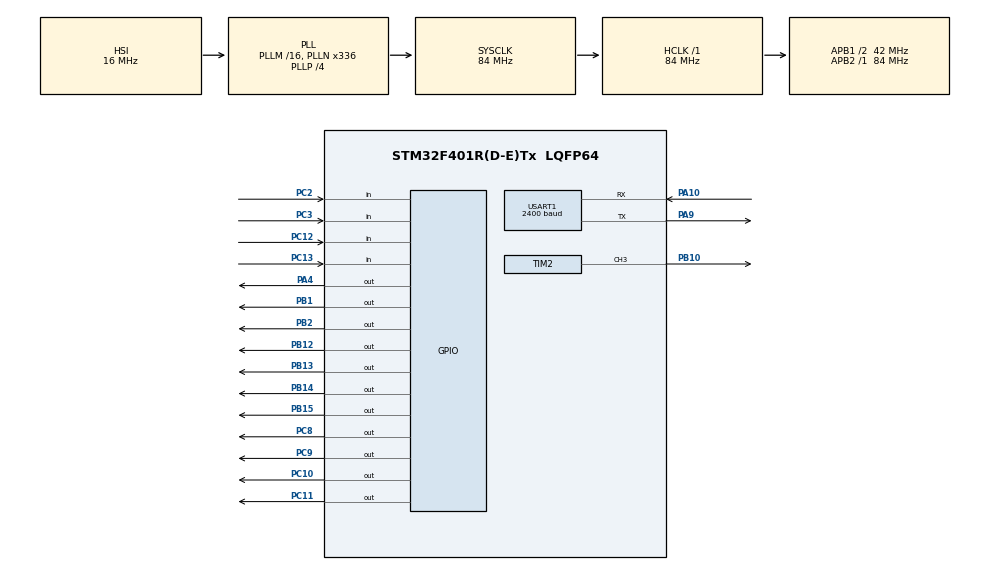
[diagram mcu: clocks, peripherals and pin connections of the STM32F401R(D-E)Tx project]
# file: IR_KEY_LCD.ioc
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Mcu.Family=STM32F4
Mcu.Name=STM32F401R(D-E)Tx
Mcu.Package=LQFP64
NVIC.PriorityGroup=NVIC_PRIORITYGROUP_4
NVIC.TIM3_IRQn=true\:0\:0\:false\:false\:true\:true\:true\:true
NVIC.TIM4_IRQn=true\:2\:0\:true\:false\:true\:true\:true\:true
NVIC.USART1_IRQn=true\:1\:0\:true\:false\:true\:true\:true\:true
PA10.Mode=Asynchronous
PA10.Signal=USART1_RX
PA13.GPIO_Label=TMS
PA13.Mode=Trace_Asynchronous_SW
PA13.Signal=SYS_JTMS-SWDIO
PA14.GPIO_Label=TCK
PA14.Mode=Trace_Asynchronous_SW
PA14.Signal=SYS_JTCK-SWCLK
PA4.Signal=GPIO_Output
PA9.Mode=Asynchronous
PA9.Signal=USART1_TX
PB1.Signal=GPIO_Output
PB10.Signal=S_TIM2_CH3
PB12.Signal=GPIO_Output
PB13.Signal=GPIO_Output
PB14.Signal=GPIO_Output
PB15.Signal=GPIO_Output
PB2.Signal=GPIO_Output
PB3.GPIO_Label=SWO
PB3.Mode=Trace_Asynchronous_SW
PB3.Signal=SYS_JTDO-SWO
PC10.Signal=GPIO_Output
PC11.Signal=GPIO_Output
PC12.Signal=GPIO_Input
PC13-ANTI_TAMP.Signal=GPIO_Input
PC14-OSC32_IN.Mode=LSE-External-Oscillator
PC14-OSC32_IN.Signal=RCC_OSC32_IN
PC15-OSC32_OUT.Mode=LSE-External-Oscillator
PC15-OSC32_OUT.Signal=RCC_OSC32_OUT
PC2.Signal=GPIO_Input
PC3.Signal=GPIO_Input
PC8.Signal=GPIO_Output
PC9.Signal=GPIO_Output
PH0\ -\ OSC_IN.Mode=HSE-External-Clock-Source
PH0\ -\ OSC_IN.Signal=RCC_OSC_IN
PH1\ -\ OSC_OUT.Mode=HSE-External-Clock-Source
PH1\ -\ OSC_OUT.Signal=RCC_OSC_OUT
ProjectManager.HeapSize=0x200
ProjectManager.StackSize=0x400
ProjectManager.TargetToolchain=STM32CubeIDE
RCC.48MHZClocksFreq_Value=48000000
RCC.AHBFreq_Value=84000000
RCC.APB1CLKDivider=RCC_HCLK_DIV2
RCC.APB1Freq_Value=42000000
RCC.APB1TimFreq_Value=84000000
RCC.APB2Freq_Value=84000000
RCC.APB2TimFreq_Value=84000000
RCC.CortexFreq_Value=84000000
RCC.HCLKFreq_Value=84000000
RCC.HSE_VALUE=8000000
RCC.HSI_VALUE=16000000
RCC.PLLN=336
RCC.PLLP=RCC_PLLP_DIV4
RCC.PLLQ=7
RCC.SYSCLKFreq_VALUE=84000000
RCC.SYSCLKSource=RCC_SYSCLKSOURCE_PLLCLK
RCC.VCOOutputFreq_Value=336000000
SH.S_TIM2_CH3.0=TIM2_CH3,PWM Generation3 CH3
TIM2.Channel-PWM\ Generation3\ CH3=TIM_CHANNEL_3
TIM2.Period=9
TIM2.Prescaler=220
TIM2.Pulse-PWM\ Generation3\ CH3=5
TIM3.Period=99
TIM3.Prescaler=349
TIM4.Period=19
TIM4.Prescaler=8399
USART1.BaudRate=2400
USART1.VirtualMode=VM_ASYNC
VP_TIM2_VS_ClockSourceINT.Mode=Internal
VP_TIM3_VS_ClockSourceINT.Mode=Internal
VP_TIM4_VS_ClockSourceINT.Mode=Internal
board=NUCLEO-F401RE

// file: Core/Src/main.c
/* USER CODE BEGIN Header */
/**
  ******************************************************************************
  * @file           : main.c
  * @brief          : Main program body
  ******************************************************************************
  * @attention
  *
  * Copyright (c) 2026 STMicroelectronics.
  * All rights reserved.
  *
  * This software is licensed under terms that can be found in the LICENSE file
  * in the root directory of this software component.
  * If no LICENSE file comes with this software, it is provided AS-IS.
  *
  ******************************************************************************
  */
/* USER CODE END Header */
#include "main.h"

/* USER CODE BEGIN Includes */
#include <stdio.h>
#include "PMDB16_LCD.h"
/* USER CODE END Includes */

/* USER CODE BEGIN PTD */
// Stati Tx IR
typedef enum {
    TX_STATE_IDLE  = 0,
    TX_STATE_START = 1,
    TX_STATE_DATA  = 2,
    TX_STATE_STOP  = 3
} TxState_t;

// Keyboard
typedef struct {
	char character;
	uint8_t status;
	uint8_t duration;
	uint8_t sent;
} button;

typedef struct {
    GPIO_TypeDef* port;
    uint16_t pin;
} PinMap;
/* USER CODE END PTD */

/* USER CODE BEGIN PD */
// Keyboard Rows/Columns
#define KEY_C0 GPIOC,GPIO_PIN_11
#define KEY_C1 GPIOC,GPIO_PIN_10
#define KEY_C2 GPIOC,GPIO_PIN_9
#define KEY_C3 GPIOC,GPIO_PIN_8
#define KEY_R0 GPIOC,GPIO_PIN_3
#define KEY_R1 GPIOC,GPIO_PIN_2
#define KEY_R2 GPIOC,GPIO_PIN_13
#define KEY_R3 GPIOC,GPIO_PIN_12

// Keyboard Dimension
#define DIM 4

// Keyboard Buttons
#define DEBOUNCE 3
#define MAX_DURATION 250
/* USER CODE END PD */

TIM_HandleTypeDef htim2;
TIM_HandleTypeDef htim3;
TIM_HandleTypeDef htim4;

UART_HandleTypeDef huart1;

/* USER CODE BEGIN PV */
// KEYBOARD
PinMap columns[] = {
    { KEY_C3 },
    { KEY_C2 },
    { KEY_C1 },
    { KEY_C0 }
};

PinMap rows[] = {
    { KEY_R0 },
    { KEY_R1 },
    { KEY_R2 },
    { KEY_R3 }
};

volatile button keyboard[DIM][DIM] = {
    { {'C', 1, 0, 0}, {'D', 1, 0, 0}, {'E', 1, 0, 0}, {'F', 1, 0, 0} },
    { {'8', 1, 0, 0}, {'9', 1, 0, 0}, {'A', 1, 0, 0}, {'B', 1, 0, 0} },
    { {'4', 1, 0, 0}, {'5', 1, 0, 0}, {'6', 1, 0, 0}, {'7', 1, 0, 0} },
    { {'0', 1, 0, 0}, {'1', 1, 0, 0}, {'2', 1, 0, 0}, {'3', 1, 0, 0} }
};

uint8_t active_col = 0;

// TX IR
volatile uint8_t  tx_data_buffer = 'G';
volatile uint8_t  bit_counter = 0;
volatile TxState_t tx_state = TX_STATE_IDLE;

// RX IR
uint8_t rx_data_buffer; // Byte ricevuto dall'IR

// LCD
volatile uint8_t ir_received_char = 0;
volatile uint8_t ir_data_ready = 0;
char lcd_buffer[17]; // Buffer per la stringa (16 char + terminatore)
/* USER CODE END PV */

void SystemClock_Config(void);
static void MX_GPIO_Init(void);
static void MX_TIM2_Init(void);
static void MX_TIM3_Init(void);
static void MX_TIM4_Init(void);
static void MX_USART1_UART_Init(void);

/* USER CODE BEGIN 0 */

// Avvia l'invio di un singolo byte tramite IR UART
void IR_UART_SendByte(uint8_t data)
{
    // Solo se il canale TX è libero posso iniziare nuova trasmissione(IDLE)
    if (tx_state == TX_STATE_IDLE)
    {
        tx_data_buffer = data;
        tx_state = TX_STATE_START;      // Ci prepariamo a inviare lo Start Bit

        __HAL_TIM_SET_COUNTER(&htim3, 0); // Azzera CNT di TIM3 affinchè lo Start Bit duri un bit time pieno
        // e non di meno perchè magari CNT era ad un altro valore. CNT arriva a ARR (99) prima di andare in
        // overflow e scattare l'ISR, se dalla scorsa ricezione CNT era ad un altro valore non conta fino a
        // 100 ma di meno
        HAL_TIM_Base_Start_IT(&htim3); // TIM3 (2400 Hz) scandisce i bit nella Trasmissione IR
    }
}

void HAL_TIM_PeriodElapsedCallback(TIM_HandleTypeDef *htim)
{
    if (htim->Instance == TIM3) // 2400 Hz, scandisce i bit IR Tx (UART1 Rx ha baud Rate = 2400 b/s)
    {
        switch (tx_state)
        {
            case TX_STATE_IDLE:
            	// Non dobbiamo inviare nulla, fermiamo il LED IR
                HAL_TIM_PWM_Stop(&htim2, TIM_CHANNEL_3);
                break;

            case TX_STATE_START:
            	// Inviamo lo Start Bit '0' accendendo il LD IR
            	// Bit = 0 -> LD IR ON -> RX = LOW (START UART)
                HAL_TIM_PWM_Start(&htim2, TIM_CHANNEL_3); // IR LED ON

                // Ora passiamo ai dati
                tx_state = TX_STATE_DATA; // Passa alla gestione dati
                bit_counter = 0;          // Resetta contatore bit
                // Nel prossimo caso ci torno tanto nel prossimo bit rate
                break;

            case TX_STATE_DATA:
            	// Inviamo 8 bit
            	// Bit Masking
            	// Esempio '1': 0(1)00 0001  >> 6  =  0000 000(1)
            	// 0000 000(1) & 0000 0001 = 0000 0001 ON
            	// Esempio '1': (0)100 0001  >> 7  =  0000 000(0)
				// 0000 000(0) & 0000 0001 = 0000 0000 OFF

                if (((tx_data_buffer >> bit_counter) & 0x01) == 0)
                {
                    HAL_TIM_PWM_Start(&htim2, TIM_CHANNEL_3); // Bit '0' -> ON
                }
                else
                {
                    HAL_TIM_PWM_Stop(&htim2, TIM_CHANNEL_3);  // Bit '1' -> OFF
                }

                bit_counter++; // Avanziamo nel buffer

                if (bit_counter >= 8) // Quando abbiamo finito
                {
                    tx_state = TX_STATE_STOP;
                }
                break;

            case TX_STATE_STOP: // Stop Bit ('1')
                HAL_TIM_PWM_Stop(&htim2, TIM_CHANNEL_3); // IR LED OFF

                // Ritorniamo in IDLE
                tx_state = TX_STATE_IDLE;
                // Finchè non premiamo altri tasti non abbiamo bisogno della Callback a 2400Hz
                HAL_TIM_Base_Stop_IT(&htim3);
                break;
        }
    }

    if (htim->Instance == TIM4) { // 500 Hz (scansione colonne KEYBOARD)
    	        for(int r=0; r<DIM; r++){
    	        	// Se il tasto è premuto
    	            if(HAL_GPIO_ReadPin(rows[r].port, rows[r].pin) == GPIO_PIN_RESET){
    	            	// Se è premuto da poco
    	                if(keyboard[r][active_col].duration < MAX_DURATION ) { // MAX_DURATION = 250*2ms = 0.5s
    	                    keyboard[r][active_col].duration++; // Aggiorniamo
    	                }
    	            } else { // Se il tasto non è premuto azzeriamo tutto
    	                keyboard[r][active_col].duration = 0;
    	                keyboard[r][active_col].sent = 0;
    	            }
    	        }
    	        // Deselezioniamo la colonna appena letta
    	        HAL_GPIO_WritePin(columns[active_col].port, columns[active_col].pin, GPIO_PIN_RESET);

    	        // Aggiorniamo la colonna da attivare
    	        active_col=(active_col+1) % DIM;

    	        // Attiviamo la nuova colonna
    	        HAL_GPIO_WritePin(columns[active_col].port, columns[active_col].pin, GPIO_PIN_SET);
	}
}

void HAL_UART_RxCpltCallback(UART_HandleTypeDef *huart)
{
    if (huart->Instance == USART1)
    {
    	ir_received_char = rx_data_buffer;
    	ir_data_ready = 1; // Siamo pronti a scrivere sull'LCD
        HAL_UART_Receive_IT(&huart1, &rx_data_buffer, 1); // ci rimettiamo in ascolto
    }

}
/* USER CODE END 0 */

int main(void)
{

  /* MCU Configuration--------------------------------------------------------*/

  /* Reset of all peripherals, Initializes the Flash interface and the Systick. */
  HAL_Init();

  /* Configure the system clock */
  SystemClock_Config();

  /* Initialize all configured peripherals */
  MX_GPIO_Init();
  MX_TIM2_Init();
  MX_TIM3_Init();
  MX_TIM4_Init();
  MX_USART1_UART_Init();
  /* USER CODE BEGIN 2 */

  // LCD initialization
  lcd_initialize();
  lcd_backlight_ON();

  // Prepara alla ricezione la UART1
  HAL_UART_Receive_IT(&huart1, &rx_data_buffer, 1);

  // Prepara la scansione della keyboard
  HAL_TIM_Base_Start_IT(&htim4);
  HAL_GPIO_WritePin(columns[active_col].port, columns[active_col].pin, GPIO_PIN_SET);

  /* USER CODE END 2 */

  /* Infinite loop */
  while (1)
  {

    /* USER CODE BEGIN 3 */
	  // --- KEYBOARD SCANNING ---
	  	  for(int j=0;j<DIM;j++){
	  	  		  for(int i=0;i<DIM;i++){
	  	  			  if((keyboard[i][j].duration>=DEBOUNCE)&&(keyboard[i][j].sent==0) ){
	  	  				  IR_UART_SendByte(keyboard[i][j].character);
	  	  				  keyboard[i][j].sent=1;
	  	  			  }
	  	  		  }
	  	  }

	  	  // --- PRINT LCD  ---
			if (ir_data_ready == 1) {

				// Formatta la stringa col dato ricevuto
				sprintf(lcd_buffer, "Character: %c", ir_received_char);

				// Stampa
				lcd_println(lcd_buffer, 0);

				// Resetta la flag
				ir_data_ready = 0;
			}
  }
  /* USER CODE END 3 */
}

void SystemClock_Config(void)
{
  RCC_OscInitTypeDef RCC_OscInitStruct = {0};
  RCC_ClkInitTypeDef RCC_ClkInitStruct = {0};

  /** Configure the main internal regulator output voltage
  */
  __HAL_RCC_PWR_CLK_ENABLE();
  __HAL_PWR_VOLTAGESCALING_CONFIG(PWR_REGULATOR_VOLTAGE_SCALE2);

  /** Initializes the RCC Oscillators according to the specified parameters
  * in the RCC_OscInitTypeDef structure.
  */
  RCC_OscInitStruct.OscillatorType = RCC_OSCILLATORTYPE_HSI;
  RCC_OscInitStruct.HSIState = RCC_HSI_ON;
  RCC_OscInitStruct.HSICalibrationValue = RCC_HSICALIBRATION_DEFAULT;
  RCC_OscInitStruct.PLL.PLLState = RCC_PLL_ON;
  RCC_OscInitStruct.PLL.PLLSource = RCC_PLLSOURCE_HSI;
  RCC_OscInitStruct.PLL.PLLM = 16;
  RCC_OscInitStruct.PLL.PLLN = 336;
  RCC_OscInitStruct.PLL.PLLP = RCC_PLLP_DIV4;
  RCC_OscInitStruct.PLL.PLLQ = 7;
  if (HAL_RCC_OscConfig(&RCC_OscInitStruct) != HAL_OK)
  {
    Error_Handler();
  }

  /** Initializes the CPU, AHB and APB buses clocks
  */
  RCC_ClkInitStruct.ClockType = RCC_CLOCKTYPE_HCLK|RCC_CLOCKTYPE_SYSCLK
                              |RCC_CLOCKTYPE_PCLK1|RCC_CLOCKTYPE_PCLK2;
  RCC_ClkInitStruct.SYSCLKSource = RCC_SYSCLKSOURCE_PLLCLK;
  RCC_ClkInitStruct.AHBCLKDivider = RCC_SYSCLK_DIV1;
  RCC_ClkInitStruct.APB1CLKDivider = RCC_HCLK_DIV2;
  RCC_ClkInitStruct.APB2CLKDivider = RCC_HCLK_DIV1;

  if (HAL_RCC_ClockConfig(&RCC_ClkInitStruct, FLASH_LATENCY_2) != HAL_OK)
  {
    Error_Handler();
  }
}

static void MX_TIM2_Init(void)
{

  TIM_ClockConfigTypeDef sClockSourceConfig = {0};
  TIM_MasterConfigTypeDef sMasterConfig = {0};
  TIM_OC_InitTypeDef sConfigOC = {0};

  htim2.Instance = TIM2;
  htim2.Init.Prescaler = 220;
  htim2.Init.CounterMode = TIM_COUNTERMODE_UP;
  htim2.Init.Period = 9;
  htim2.Init.ClockDivision = TIM_CLOCKDIVISION_DIV1;
  htim2.Init.AutoReloadPreload = TIM_AUTORELOAD_PRELOAD_DISABLE;
  if (HAL_TIM_Base_Init(&htim2) != HAL_OK)
  {
    Error_Handler();
  }
  sClockSourceConfig.ClockSource = TIM_CLOCKSOURCE_INTERNAL;
  if (HAL_TIM_ConfigClockSource(&htim2, &sClockSourceConfig) != HAL_OK)
  {
    Error_Handler();
  }
  if (HAL_TIM_PWM_Init(&htim2) != HAL_OK)
  {
    Error_Handler();
  }
  sMasterConfig.MasterOutputTrigger = TIM_TRGO_RESET;
  sMasterConfig.MasterSlaveMode = TIM_MASTERSLAVEMODE_DISABLE;
  if (HAL_TIMEx_MasterConfigSynchronization(&htim2, &sMasterConfig) != HAL_OK)
  {
    Error_Handler();
  }
  sConfigOC.OCMode = TIM_OCMODE_PWM1;
  sConfigOC.Pulse = 5;
  sConfigOC.OCPolarity = TIM_OCPOLARITY_HIGH;
  sConfigOC.OCFastMode = TIM_OCFAST_DISABLE;
  if (HAL_TIM_PWM_ConfigChannel(&htim2, &sConfigOC, TIM_CHANNEL_3) != HAL_OK)
  {
    Error_Handler();
  }
  HAL_TIM_MspPostInit(&htim2);

}

static void MX_TIM3_Init(void)
{

  TIM_ClockConfigTypeDef sClockSourceConfig = {0};
  TIM_MasterConfigTypeDef sMasterConfig = {0};

  htim3.Instance = TIM3;
  htim3.Init.Prescaler = 349;
  htim3.Init.CounterMode = TIM_COUNTERMODE_UP;
  htim3.Init.Period = 99;
  htim3.Init.ClockDivision = TIM_CLOCKDIVISION_DIV1;
  htim3.Init.AutoReloadPreload = TIM_AUTORELOAD_PRELOAD_DISABLE;
  if (HAL_TIM_Base_Init(&htim3) != HAL_OK)
  {
    Error_Handler();
  }
  sClockSourceConfig.ClockSource = TIM_CLOCKSOURCE_INTERNAL;
  if (HAL_TIM_ConfigClockSource(&htim3, &sClockSourceConfig) != HAL_OK)
  {
    Error_Handler();
  }
  sMasterConfig.MasterOutputTrigger = TIM_TRGO_RESET;
  sMasterConfig.MasterSlaveMode = TIM_MASTERSLAVEMODE_DISABLE;
  if (HAL_TIMEx_MasterConfigSynchronization(&htim3, &sMasterConfig) != HAL_OK)
  {
    Error_Handler();
  }

}

static void MX_TIM4_Init(void)
{

  TIM_ClockConfigTypeDef sClockSourceConfig = {0};
  TIM_MasterConfigTypeDef sMasterConfig = {0};

  htim4.Instance = TIM4;
  htim4.Init.Prescaler = 8399;
  htim4.Init.CounterMode = TIM_COUNTERMODE_UP;
  htim4.Init.Period = 19;
  htim4.Init.ClockDivision = TIM_CLOCKDIVISION_DIV1;
  htim4.Init.AutoReloadPreload = TIM_AUTORELOAD_PRELOAD_DISABLE;
  if (HAL_TIM_Base_Init(&htim4) != HAL_OK)
  {
    Error_Handler();
  }
  sClockSourceConfig.ClockSource = TIM_CLOCKSOURCE_INTERNAL;
  if (HAL_TIM_ConfigClockSource(&htim4, &sClockSourceConfig) != HAL_OK)
  {
    Error_Handler();
  }
  sMasterConfig.MasterOutputTrigger = TIM_TRGO_RESET;
  sMasterConfig.MasterSlaveMode = TIM_MASTERSLAVEMODE_DISABLE;
  if (HAL_TIMEx_MasterConfigSynchronization(&htim4, &sMasterConfig) != HAL_OK)
  {
    Error_Handler();
  }

}

static void MX_USART1_UART_Init(void)
{

  huart1.Instance = USART1;
  huart1.Init.BaudRate = 2400;
  huart1.Init.WordLength = UART_WORDLENGTH_8B;
  huart1.Init.StopBits = UART_STOPBITS_1;
  huart1.Init.Parity = UART_PARITY_NONE;
  huart1.Init.Mode = UART_MODE_TX_RX;
  huart1.Init.HwFlowCtl = UART_HWCONTROL_NONE;
  huart1.Init.OverSampling = UART_OVERSAMPLING_16;
  if (HAL_UART_Init(&huart1) != HAL_OK)
  {
    Error_Handler();
  }

}

static void MX_GPIO_Init(void)
{
  GPIO_InitTypeDef GPIO_InitStruct = {0};

  /* GPIO Ports Clock Enable */
  __HAL_RCC_GPIOC_CLK_ENABLE();
  __HAL_RCC_GPIOH_CLK_ENABLE();
  __HAL_RCC_GPIOA_CLK_ENABLE();
  __HAL_RCC_GPIOB_CLK_ENABLE();

  /*Configure GPIO pin Output Level */
  HAL_GPIO_WritePin(GPIOA, GPIO_PIN_4, GPIO_PIN_RESET);

  /*Configure GPIO pin Output Level */
  HAL_GPIO_WritePin(GPIOB, GPIO_PIN_1|GPIO_PIN_2|GPIO_PIN_12|GPIO_PIN_13
                          |GPIO_PIN_14|GPIO_PIN_15, GPIO_PIN_RESET);

  /*Configure GPIO pin Output Level */
  HAL_GPIO_WritePin(GPIOC, GPIO_PIN_8|GPIO_PIN_9|GPIO_PIN_10|GPIO_PIN_11, GPIO_PIN_RESET);

  /*Configure GPIO pins : PC13 PC2 PC3 PC12 */
  GPIO_InitStruct.Pin = GPIO_PIN_13|GPIO_PIN_2|GPIO_PIN_3|GPIO_PIN_12;
  GPIO_InitStruct.Mode = GPIO_MODE_INPUT;
  GPIO_InitStruct.Pull = GPIO_NOPULL;
  HAL_GPIO_Init(GPIOC, &GPIO_InitStruct);

  /*Configure GPIO pin : PA4 */
  GPIO_InitStruct.Pin = GPIO_PIN_4;
  GPIO_InitStruct.Mode = GPIO_MODE_OUTPUT_PP;
  GPIO_InitStruct.Pull = GPIO_NOPULL;
  GPIO_InitStruct.Speed = GPIO_SPEED_FREQ_LOW;
  HAL_GPIO_Init(GPIOA, &GPIO_InitStruct);

  /*Configure GPIO pins : PB1 PB2 PB12 PB13
                           PB14 PB15 */
  GPIO_InitStruct.Pin = GPIO_PIN_1|GPIO_PIN_2|GPIO_PIN_12|GPIO_PIN_13
                          |GPIO_PIN_14|GPIO_PIN_15;
  GPIO_InitStruct.Mode = GPIO_MODE_OUTPUT_PP;
  GPIO_InitStruct.Pull = GPIO_NOPULL;
  GPIO_InitStruct.Speed = GPIO_SPEED_FREQ_LOW;
  HAL_GPIO_Init(GPIOB, &GPIO_InitStruct);

  /*Configure GPIO pins : PC8 PC9 PC10 PC11 */
  GPIO_InitStruct.Pin = GPIO_PIN_8|GPIO_PIN_9|GPIO_PIN_10|GPIO_PIN_11;
  GPIO_InitStruct.Mode = GPIO_MODE_OUTPUT_PP;
  GPIO_InitStruct.Pull = GPIO_NOPULL;
  GPIO_InitStruct.Speed = GPIO_SPEED_FREQ_LOW;
  HAL_GPIO_Init(GPIOC, &GPIO_InitStruct);

}

void Error_Handler(void)
{
  __disable_irq();
  while (1)
  {
  }
}
